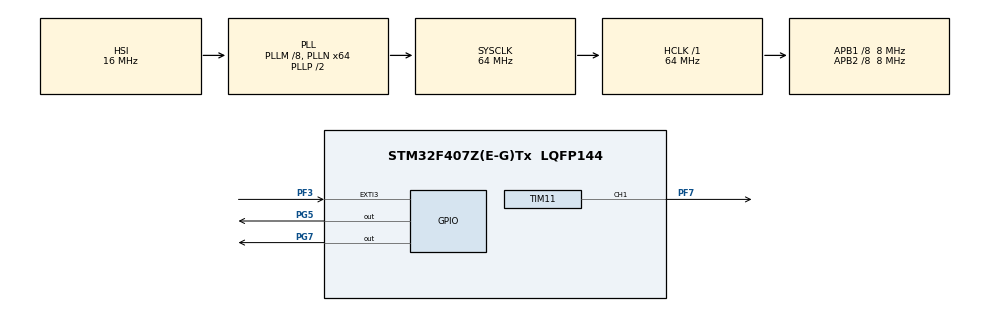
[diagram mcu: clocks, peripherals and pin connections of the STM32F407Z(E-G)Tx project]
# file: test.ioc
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Mcu.Family=STM32F4
Mcu.Name=STM32F407Z(E-G)Tx
Mcu.Package=LQFP144
NVIC.EXTI3_IRQn=true\:0\:0\:false\:false\:true\:true\:true\:true
NVIC.PriorityGroup=NVIC_PRIORITYGROUP_4
NVIC.TIM6_DAC_IRQn=true\:0\:0\:false\:false\:true\:true\:true\:true
NVIC.TIM7_IRQn=true\:0\:0\:false\:false\:true\:true\:true\:true
PF3.Signal=GPXTI3
PF7.Signal=S_TIM11_CH1
PG5.Signal=GPIO_Output
PG7.Signal=GPIO_Output
ProjectManager.HeapSize=0x200
ProjectManager.StackSize=0x400
ProjectManager.TargetToolchain=STM32CubeIDE
RCC.48MHZClocksFreq_Value=32000000
RCC.AHBFreq_Value=64000000
RCC.APB1CLKDivider=RCC_HCLK_DIV8
RCC.APB1Freq_Value=8000000
RCC.APB1TimFreq_Value=16000000
RCC.APB2CLKDivider=RCC_HCLK_DIV8
RCC.APB2Freq_Value=8000000
RCC.APB2TimFreq_Value=16000000
RCC.CortexFreq_Value=64000000
RCC.HCLKFreq_Value=64000000
RCC.HSE_VALUE=25000000
RCC.HSI_VALUE=16000000
RCC.LSE_VALUE=32768
RCC.PLLM=8
RCC.PLLN=64
RCC.SYSCLKFreq_VALUE=64000000
RCC.SYSCLKSource=RCC_SYSCLKSOURCE_PLLCLK
RCC.VCOOutputFreq_Value=128000000
SH.S_TIM11_CH1.0=TIM11_CH1,PWM Generation1 CH1
TIM11.AutoReloadPreload=TIM_AUTORELOAD_PRELOAD_ENABLE
TIM11.Channel=TIM_CHANNEL_1
TIM11.Period=1000
TIM11.Prescaler=35
TIM11.Pulse=500
TIM6.Period=65535
TIM6.Prescaler=15999
TIM7.Period=65500
TIM7.Prescaler=244
VP_TIM11_VS_ClockSourceINT.Mode=Enable_Timer
VP_TIM6_VS_ClockSourceINT.Mode=Enable_Timer
VP_TIM7_VS_ClockSourceINT.Mode=Enable_Timer
board=custom

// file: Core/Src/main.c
/* USER CODE BEGIN Header */
/**
  ******************************************************************************
  * @file           : main.c
  * @brief          : Main program body
  ******************************************************************************
  * @attention
  *
  * Copyright (c) 2023 STMicroelectronics.
  * All rights reserved.
  *
  * This software is licensed under terms that can be found in the LICENSE file
  * in the root directory of this software component.
  * If no LICENSE file comes with this software, it is provided AS-IS.
  *
  ******************************************************************************
  */
/* USER CODE END Header */
#include "main.h"

TIM_HandleTypeDef htim6;
TIM_HandleTypeDef htim7;
TIM_HandleTypeDef htim11;

/* USER CODE BEGIN PV */
int delay_reference=1000;
int delay;
int number_pressed=1;
int statuse;  // 0: idle 1: first  2: second
int t6;
int test_tim7=0;

/* USER CODE END PV */

void SystemClock_Config(void);
static void MX_GPIO_Init(void);
static void MX_TIM6_Init(void);
static void MX_TIM7_Init(void);
static void MX_TIM11_Init(void);

int main(void)
{
  /* USER CODE BEGIN 1 */

	// External Interrupt ISR Handler CallBackFun

  /* USER CODE END 1 */

  /* MCU Configuration--------------------------------------------------------*/

  /* Reset of all peripherals, Initializes the Flash interface and the Systick. */
  HAL_Init();

  /* Configure the system clock */
  SystemClock_Config();

  /* Initialize all configured peripherals */
  MX_GPIO_Init();
  MX_TIM6_Init();
  MX_TIM7_Init();
  MX_TIM11_Init();
  /* USER CODE BEGIN 2 */
  HAL_TIM_Base_Start_IT(&htim7);
  HAL_GPIO_WritePin(GPIOG,GPIO_PIN_7, GPIO_PIN_RESET);

  HAL_TIM_PWM_Start(&htim11, TIM_CHANNEL_1);

  /* USER CODE END 2 */

  /* Infinite loop */
  while (1)
  {

  }
}

void SystemClock_Config(void)
{
  RCC_OscInitTypeDef RCC_OscInitStruct = {0};
  RCC_ClkInitTypeDef RCC_ClkInitStruct = {0};

  /** Configure the main internal regulator output voltage
  */
  __HAL_RCC_PWR_CLK_ENABLE();
  __HAL_PWR_VOLTAGESCALING_CONFIG(PWR_REGULATOR_VOLTAGE_SCALE1);

  /** Initializes the RCC Oscillators according to the specified parameters
  * in the RCC_OscInitTypeDef structure.
  */
  RCC_OscInitStruct.OscillatorType = RCC_OSCILLATORTYPE_HSI;
  RCC_OscInitStruct.HSIState = RCC_HSI_ON;
  RCC_OscInitStruct.HSICalibrationValue = RCC_HSICALIBRATION_DEFAULT;
  RCC_OscInitStruct.PLL.PLLState = RCC_PLL_ON;
  RCC_OscInitStruct.PLL.PLLSource = RCC_PLLSOURCE_HSI;
  RCC_OscInitStruct.PLL.PLLM = 8;
  RCC_OscInitStruct.PLL.PLLN = 64;
  RCC_OscInitStruct.PLL.PLLP = RCC_PLLP_DIV2;
  RCC_OscInitStruct.PLL.PLLQ = 4;
  if (HAL_RCC_OscConfig(&RCC_OscInitStruct) != HAL_OK)
  {
    Error_Handler();
  }

  /** Initializes the CPU, AHB and APB buses clocks
  */
  RCC_ClkInitStruct.ClockType = RCC_CLOCKTYPE_HCLK|RCC_CLOCKTYPE_SYSCLK
                              |RCC_CLOCKTYPE_PCLK1|RCC_CLOCKTYPE_PCLK2;
  RCC_ClkInitStruct.SYSCLKSource = RCC_SYSCLKSOURCE_PLLCLK;
  RCC_ClkInitStruct.AHBCLKDivider = RCC_SYSCLK_DIV1;
  RCC_ClkInitStruct.APB1CLKDivider = RCC_HCLK_DIV8;
  RCC_ClkInitStruct.APB2CLKDivider = RCC_HCLK_DIV8;

  if (HAL_RCC_ClockConfig(&RCC_ClkInitStruct, FLASH_LATENCY_2) != HAL_OK)
  {
    Error_Handler();
  }
}

static void MX_TIM6_Init(void)
{

  TIM_MasterConfigTypeDef sMasterConfig = {0};

  htim6.Instance = TIM6;
  htim6.Init.Prescaler = 15999;
  htim6.Init.CounterMode = TIM_COUNTERMODE_UP;
  htim6.Init.Period = 65535;
  htim6.Init.AutoReloadPreload = TIM_AUTORELOAD_PRELOAD_DISABLE;
  if (HAL_TIM_Base_Init(&htim6) != HAL_OK)
  {
    Error_Handler();
  }
  sMasterConfig.MasterOutputTrigger = TIM_TRGO_RESET;
  sMasterConfig.MasterSlaveMode = TIM_MASTERSLAVEMODE_DISABLE;
  if (HAL_TIMEx_MasterConfigSynchronization(&htim6, &sMasterConfig) != HAL_OK)
  {
    Error_Handler();
  }

}

static void MX_TIM7_Init(void)
{

  TIM_MasterConfigTypeDef sMasterConfig = {0};

  htim7.Instance = TIM7;
  htim7.Init.Prescaler = 244;
  htim7.Init.CounterMode = TIM_COUNTERMODE_UP;
  htim7.Init.Period = 65500;
  htim7.Init.AutoReloadPreload = TIM_AUTORELOAD_PRELOAD_DISABLE;
  if (HAL_TIM_Base_Init(&htim7) != HAL_OK)
  {
    Error_Handler();
  }
  sMasterConfig.MasterOutputTrigger = TIM_TRGO_RESET;
  sMasterConfig.MasterSlaveMode = TIM_MASTERSLAVEMODE_DISABLE;
  if (HAL_TIMEx_MasterConfigSynchronization(&htim7, &sMasterConfig) != HAL_OK)
  {
    Error_Handler();
  }

}

static void MX_TIM11_Init(void)
{

  TIM_OC_InitTypeDef sConfigOC = {0};

  htim11.Instance = TIM11;
  htim11.Init.Prescaler = 35;
  htim11.Init.CounterMode = TIM_COUNTERMODE_UP;
  htim11.Init.Period = 1000;
  htim11.Init.ClockDivision = TIM_CLOCKDIVISION_DIV1;
  htim11.Init.AutoReloadPreload = TIM_AUTORELOAD_PRELOAD_ENABLE;
  if (HAL_TIM_Base_Init(&htim11) != HAL_OK)
  {
    Error_Handler();
  }
  if (HAL_TIM_PWM_Init(&htim11) != HAL_OK)
  {
    Error_Handler();
  }
  sConfigOC.OCMode = TIM_OCMODE_PWM1;
  sConfigOC.Pulse = 500;
  sConfigOC.OCPolarity = TIM_OCPOLARITY_HIGH;
  sConfigOC.OCFastMode = TIM_OCFAST_DISABLE;
  if (HAL_TIM_PWM_ConfigChannel(&htim11, &sConfigOC, TIM_CHANNEL_1) != HAL_OK)
  {
    Error_Handler();
  }
  HAL_TIM_MspPostInit(&htim11);

}

static void MX_GPIO_Init(void)
{
  GPIO_InitTypeDef GPIO_InitStruct = {0};

  /* GPIO Ports Clock Enable */
  __HAL_RCC_GPIOF_CLK_ENABLE();
  __HAL_RCC_GPIOG_CLK_ENABLE();

  /*Configure GPIO pin Output Level */
  HAL_GPIO_WritePin(GPIOG, GPIO_PIN_5|GPIO_PIN_7, GPIO_PIN_RESET);

  /*Configure GPIO pin : PF3 */
  GPIO_InitStruct.Pin = GPIO_PIN_3;
  GPIO_InitStruct.Mode = GPIO_MODE_IT_RISING;
  GPIO_InitStruct.Pull = GPIO_NOPULL;
  HAL_GPIO_Init(GPIOF, &GPIO_InitStruct);

  /*Configure GPIO pins : PG5 PG7 */
  GPIO_InitStruct.Pin = GPIO_PIN_5|GPIO_PIN_7;
  GPIO_InitStruct.Mode = GPIO_MODE_OUTPUT_PP;
  GPIO_InitStruct.Pull = GPIO_NOPULL;
  GPIO_InitStruct.Speed = GPIO_SPEED_FREQ_LOW;
  HAL_GPIO_Init(GPIOG, &GPIO_InitStruct);

  /* EXTI interrupt init*/
  HAL_NVIC_SetPriority(EXTI3_IRQn, 0, 0);
  HAL_NVIC_EnableIRQ(EXTI3_IRQn);

}

/* USER CODE BEGIN 4 */

void HAL_GPIO_EXTI_Callback(uint16_t pin)
{

	if(pin == GPIO_PIN_3){
		statuse+=1;

		 if(statuse==1){
			 __HAL_TIM_SET_COUNTER(&htim6, 0);
			 t6=0;
			 HAL_TIM_Base_Start(&htim6);

		 }else if(statuse==2){
			 HAL_TIM_Base_Stop(&htim6);
			 t6=__HAL_TIM_GetCounter(&htim6);
			 statuse=0;
		 }

	}
}

void HAL_TIM_PeriodElapsedCallback(TIM_HandleTypeDef* htim)
{
	if(htim->Instance==TIM7){
		 HAL_GPIO_TogglePin(GPIOG, GPIO_PIN_7);
		 test_tim7+=1;
		}
}

/* USER CODE END 4 */

void Error_Handler(void)
{
  __disable_irq();
  while (1)
  {
  }
}
